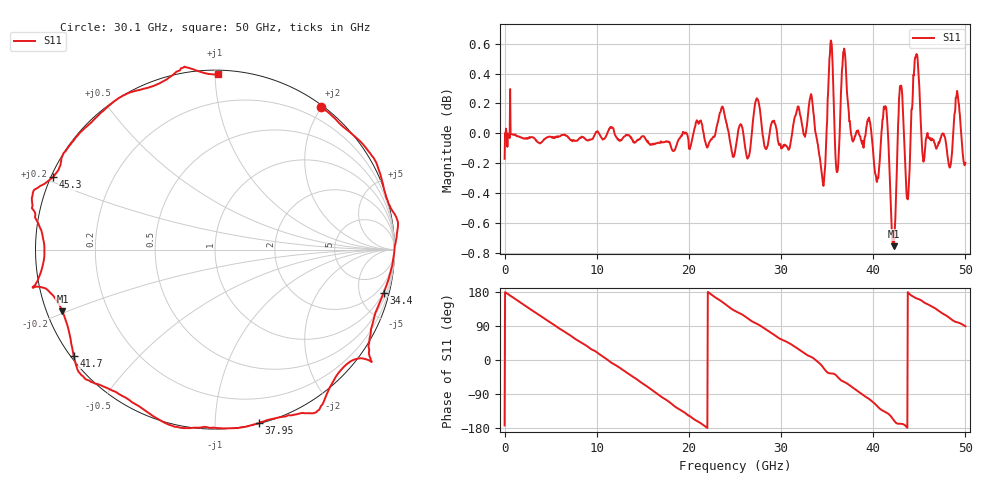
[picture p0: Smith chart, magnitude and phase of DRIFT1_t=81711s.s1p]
!Created with skrf (http://scikit-rf.org).
# Hz S RI R 50.0
!freq ReS11 ImS11
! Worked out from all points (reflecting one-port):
!   1001 points, 300 kHz to 50 GHz, reference 50 ohm
!   lowest |S11| = -0.8 dB at 42.2 GHz (marker M1), VSWR 23.08, Z = 2.25 - j9.7 ohm
!   phase of S11 starts at -173 deg and turns -818 deg over the sweep
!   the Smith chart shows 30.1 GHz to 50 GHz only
!   S11 on the Smith chart (normalised r, x): 30.1 GHz: 0.03, +1.99; 34.4 GHz: 0.96, -7.76; 37.95 GHz: 0.01, -1.29; 41.7 GHz: 0.01, -0.33; 45.3 GHz: 0.01, +0.21; 50 GHz: 0.02, +1.02
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300000  -0.9728 -0.1236
1.450291e9  -0.9124 0.4038
3.25028e9  -0.5931 0.8003
6.250262e9  0.1984 0.9787
9.500243e9  0.8872 0.4517
1.250022e10  0.9305 -0.3518
1.580021e10  0.2426 -0.9611
1.73502e10  -0.2111 -0.9707
1.875019e10  -0.5986 -0.7926
2.165017e10  -0.9899 -0.1226
2.345016e10  -0.9298 0.4119
2.500015e10  -0.6269 0.7608
2.745014e10  -0.0831 1.023
3.010012e10  0.5908 0.7937
3.125011e10  0.782 0.628
3.31501e10  1.013 0.1719
3.440009e10  0.9389 -0.2424
3.520009e10  0.8633 -0.6005
3.750008e10  0.3794 -0.9312
3.795007e10  0.2448 -0.9656
3.960006e10  -0.2387 -0.9813
4.170005e10  -0.7877 -0.5905
4.220005e10  -0.8502 -0.3435
4.290004e10  -1.015 -0.2123
4.375004e10  -0.9505 0.0131
4.530003e10  -0.9015 0.4061
4.765001e10  -0.5134 0.8578
5e10  0.0194 0.9774
